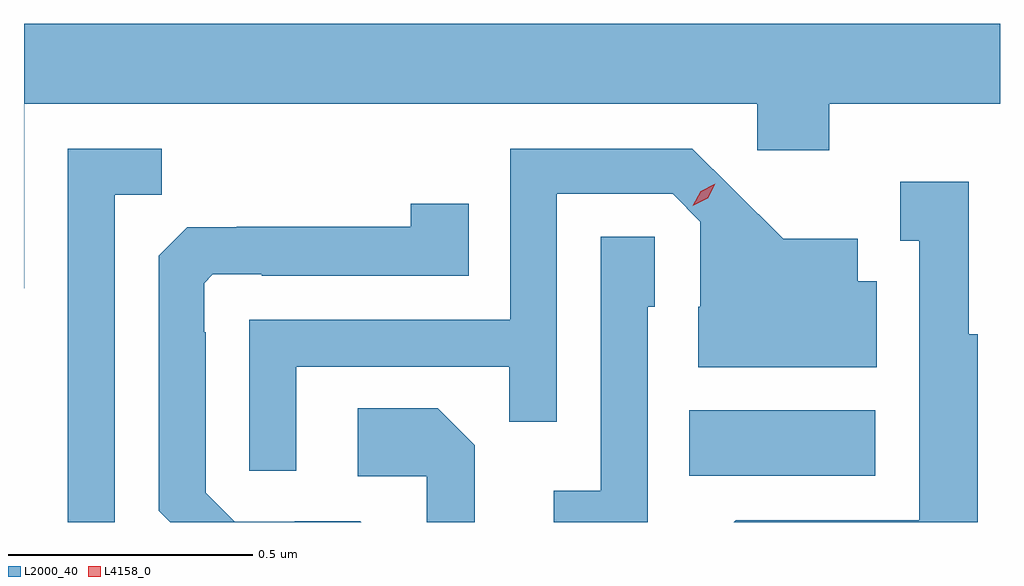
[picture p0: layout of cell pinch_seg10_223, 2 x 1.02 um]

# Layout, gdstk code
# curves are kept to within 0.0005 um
import gdstk
lib = gdstk.Library(unit=1e-6, precision=1e-09)
def R(c, l, rs):  # rectangles x0, y0, x1, y1
    for r in rs: c.add(gdstk.rectangle(r[:2], r[2:], *l))
def P(c, l, *ps):  # polygons
    for p in ps: c.add(gdstk.Polygon(p, *l))
L2000_40 = (2000, 40)
L4158_0 = (4158, 0)

pinch_seg10_223 = lib.new_cell('pinch_seg10_223')
R(pinch_seg10_223, L2000_40, [(631.762,1299.554,632.143,1299.688)])
P(pinch_seg10_223, L2000_40, [(630.4,1300.316),(631.902,1300.316),(631.902,1300.221),(632.049,1300.221),(632.049,1300.316),(632.399,1300.316),(632.399,1300.48),(630.399,1300.48),(630.399,1299.938),(630.4,1299.938)],
  [(630.957,1299.777),(631.393,1299.777),(631.393,1299.664),(631.491,1299.664),(631.491,1300.131),(631.728,1300.131),(631.785,1300.074),(631.785,1299.9),(631.781,1299.9),(631.781,1299.776),(632.146,1299.776),(632.146,1299.952),(632.107,1299.952),(632.107,1300.039),(631.955,1300.039),(631.768,1300.224),(631.395,1300.224),(631.395,1299.873),(630.861,1299.873),(630.861,1299.564),(630.957,1299.564)],
  [(630.585,1300.129),(630.681,1300.129),(630.681,1300.224),(630.489,1300.224),(630.489,1299.458),(630.585,1299.458)],
  [(632.353,1299.843),(632.335,1299.843),(632.335,1300.156),(632.195,1300.156),(632.195,1300.035),(632.234,1300.035),(632.234,1299.462),(631.857,1299.462),(631.853,1299.458),(632.353,1299.458)],
  [(631.088,1299.46),(630.954,1299.46),(630.954,1299.459),(630.831,1299.459),(630.771,1299.519),(630.771,1299.848),(630.768,1299.848),(630.768,1299.948),(630.786,1299.966),(630.886,1299.966),(630.886,1299.963),(631.31,1299.963),(631.31,1300.111),(631.192,1300.111),(631.192,1300.064),(630.835,1300.064),(630.835,1300.063),(630.734,1300.063),(630.675,1300.004),(630.675,1299.482),(630.699,1299.458),(631.09,1299.458)],
  [(631.677,1299.9),(631.692,1299.9),(631.692,1300.043),(631.581,1300.043),(631.581,1299.523),(631.485,1299.523),(631.485,1299.458),(631.677,1299.458)],
  [(631.323,1299.616),(631.247,1299.692),(631.083,1299.692),(631.083,1299.552),(631.224,1299.552),(631.224,1299.458),(631.323,1299.458)])
P(pinch_seg10_223, L4158_0, [(631.769,1300.107),(631.769,1300.107),(631.786,1300.137),(631.816,1300.152),(631.816,1300.152),(631.816,1300.152),(631.8,1300.122),(631.769,1300.107)])

lib.write_gds('pinch_seg10_223.gds')
